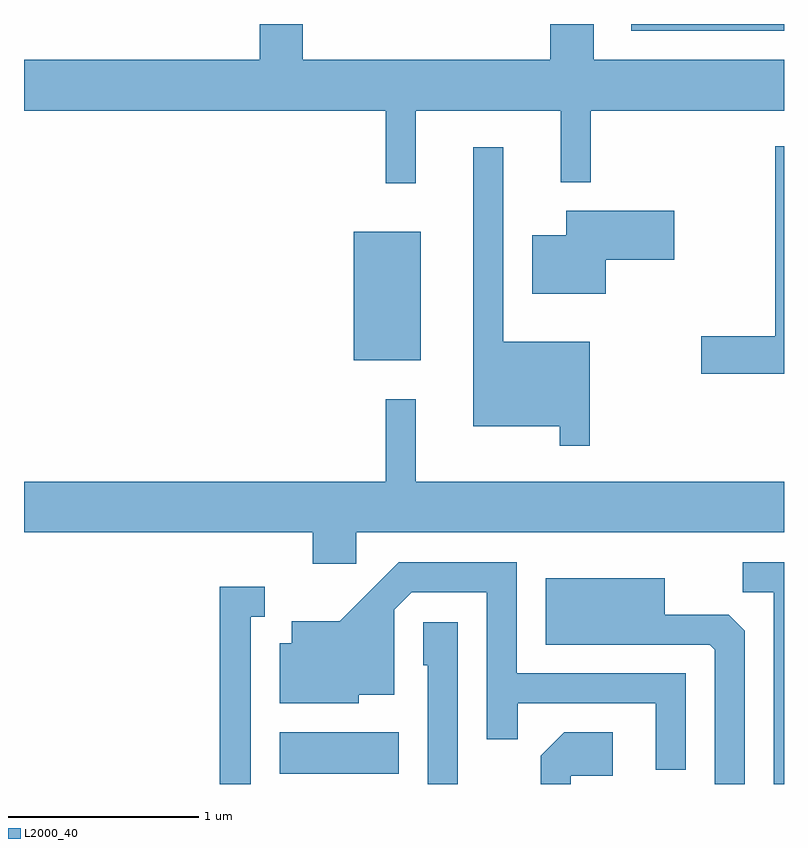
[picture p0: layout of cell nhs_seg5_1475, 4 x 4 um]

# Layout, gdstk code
import gdstk
lib = gdstk.Library(unit=1e-6, precision=1e-09)
def R(c, l, rs):  # rectangles x0, y0, x1, y1
    for r in rs: c.add(gdstk.rectangle(r[:2], r[2:], *l))
def P(c, l, *ps):  # polygons
    for p in ps: c.add(gdstk.Polygon(p, *l))
L2000_40 = (2000, 40)

nhs_seg5_1475 = lib.new_cell('nhs_seg5_1475')
R(nhs_seg5_1475, L2000_40, [(228.956,1522.126,229.584,1522.344), (229.346,1524.301,229.699,1524.979), (230.806,1526.036,231.611,1526.072)])
P(nhs_seg5_1475, L2000_40, [(229.674,1525.616),(230.436,1525.616),(230.436,1525.238),(230.594,1525.238),(230.594,1525.616),(231.611,1525.616),(231.611,1525.884),(230.609,1525.884),(230.609,1526.072),(230.381,1526.072),(230.381,1525.884),(229.079,1525.884),(229.079,1526.072),(228.851,1526.072),(228.851,1525.884),(227.611,1525.884),(227.611,1525.616),(229.516,1525.616),(229.516,1525.233),(229.674,1525.233)],
  [(231.611,1525.429),(231.566,1525.429),(231.566,1524.429),(231.176,1524.429),(231.176,1524.231),(231.611,1524.231)],
  [(230.589,1524.399),(230.134,1524.399),(230.134,1525.423),(229.976,1525.423),(229.976,1523.956),(230.431,1523.956),(230.431,1523.853),(230.589,1523.853)],
  [(230.674,1524.831),(231.034,1524.831),(231.034,1525.089),(230.466,1525.089),(230.466,1524.959),(230.286,1524.959),(230.286,1524.651),(230.674,1524.651)],
  [(229.359,1523.396),(231.611,1523.396),(231.611,1523.664),(229.674,1523.664),(229.674,1524.098),(229.516,1524.098),(229.516,1523.664),(227.611,1523.664),(227.611,1523.396),(229.131,1523.396),(229.131,1523.231),(229.359,1523.231)],
  [(231.094,1522.654),(230.204,1522.654),(230.204,1523.239),(229.584,1523.239),(229.274,1522.929),(229.021,1522.929),(229.021,1522.814),(228.956,1522.814),(228.956,1522.496),(229.374,1522.496),(229.374,1522.541),(229.559,1522.541),(229.559,1522.989),(229.652,1523.081),(230.046,1523.081),(230.046,1522.308),(230.209,1522.308),(230.209,1522.496),(230.936,1522.496),(230.936,1522.148),(231.094,1522.148)],
  [(231.611,1523.239),(231.393,1523.239),(231.393,1523.081),(231.556,1523.081),(231.556,1522.072),(231.611,1522.072)],
  [(231.404,1522.879),(231.319,1522.964),(230.984,1522.964),(230.984,1523.154),(230.356,1523.154),(230.356,1522.806),(231.219,1522.806),(231.246,1522.779),(231.246,1522.072),(231.404,1522.072)],
  [(228.804,1522.951),(228.878,1522.951),(228.878,1523.109),(228.641,1523.109),(228.641,1522.072),(228.804,1522.072)],
  [(229.894,1522.924),(229.711,1522.924),(229.711,1522.696),(229.736,1522.696),(229.736,1522.072),(229.894,1522.072)],
  [(230.489,1522.116),(230.709,1522.116),(230.709,1522.344),(230.454,1522.344),(230.331,1522.222),(230.331,1522.072),(230.489,1522.072)])

lib.write_gds('nhs_seg5_1475.gds')
